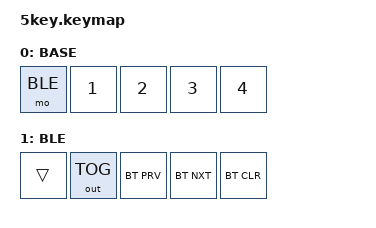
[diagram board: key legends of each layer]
/*
 * Copyright (c) 2022 The ZMK Contributors
 *
 * SPDX-License-Identifier: MIT
 */

#include <behaviors.dtsi>
#include <dt-bindings/zmk/keys.h>
#include <dt-bindings/zmk/bt.h>
#include <dt-bindings/zmk/outputs.h>

#define BASE 0
#define BLE 1

/ {
        keymap {
            compatible = "zmk,keymap";

            base_layer {
              display-name = "BASE";
              bindings = <
                // ╭─────────────┬──────────────┬──────────────────┬─────────────┬─────────────╮
                     &mo BLE      &kp NUMBER_1  &kp NUMBER_2    &kp NUMBER_3   &kp NUMBER_4
                // ╰─────────────┴──────────────┴──────────────────┴─────────────┴─────────────╯
              >;
            };

            ble_layer {
              display-name = "BLE";
              bindings = <
                // ╭─────────────┬─────────────┬─────────────┬─────────────┬─────────────╮
                     &trans     &out OUT_TOG   &bt BT_PRV    &bt BT_NXT    &bt BT_CLR
                // ╰─────────────┴─────────────┴─────────────┴─────────────┴─────────────╯
              >;
            };

            extra1 {
              status = "reserved";
            };

            extra2 {
               status = "reserved";
            };
            extra3 {
                status = "reserved";
            };
            extra4 {
                status = "reserved";
            };
        };
};
